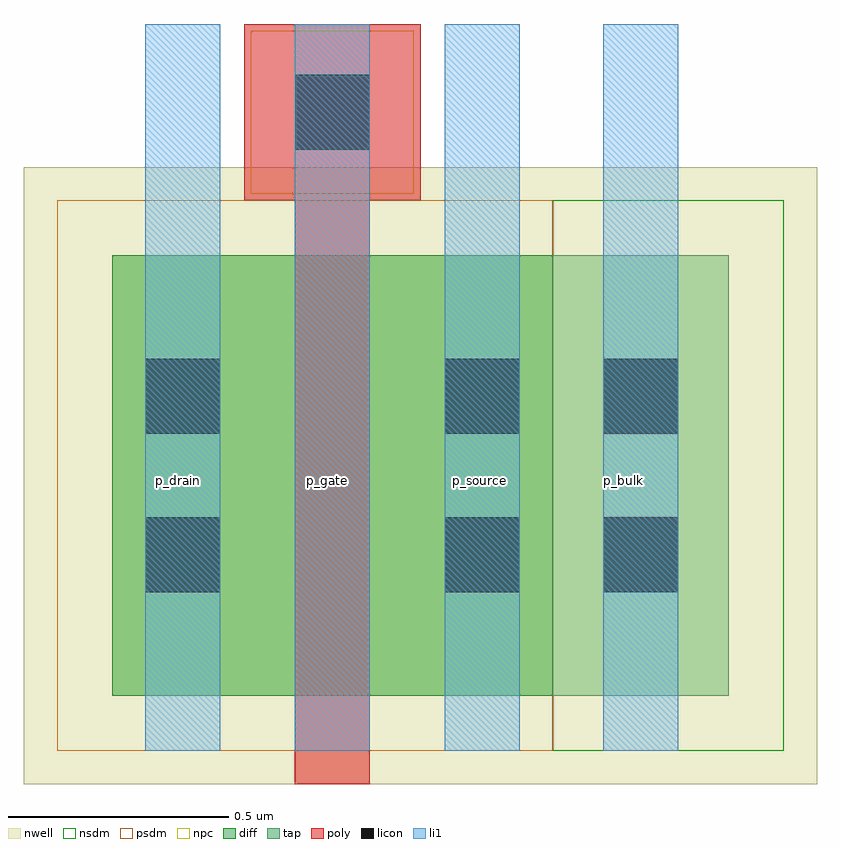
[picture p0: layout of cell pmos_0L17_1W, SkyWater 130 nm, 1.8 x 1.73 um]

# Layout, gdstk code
import gdstk
lib = gdstk.Library(unit=1e-6, precision=5e-09)
def R(c, l, rs):  # rectangles x0, y0, x1, y1
    for r in rs: c.add(gdstk.rectangle(r[:2], r[2:], *l))
def A(c, l, x, y, w, h, nx, ny, dx, dy):  # array of equal rectangles
    R(c, l, [(x+i*dx, y+j*dy, x+i*dx+w, y+j*dy+h) for i in range(nx) for j in range(ny)])
nwell = (64, 20)
diff = (65, 20)
tap = (65, 44)
poly = (66, 20)
licon = (66, 44)
li1 = (67, 20)
nsdm = (93, 44)
psdm = (94, 20)
npc = (95, 20)

pmos_0l17_1w = lib.new_cell('pmos_0L17_1W')
R(pmos_0l17_1w, nwell, [(-1.075,0.7,0.725,2.1)])
R(pmos_0l17_1w, diff, [(-0.875,0.9,0.125,1.9)])
R(pmos_0l17_1w, tap, [(0.125,0.9,0.525,1.9)])
R(pmos_0l17_1w, poly, [(-0.46,0.7,-0.29,2.025), (-0.575,2.025,-0.175,2.425)])
R(pmos_0l17_1w, licon, [(-0.8,1.135,-0.63,1.305), (-0.12,1.135,0.05,1.305), (0.24,1.135,0.41,1.305), (-0.8,1.495,-0.63,1.665), (-0.12,1.495,0.05,1.665), (0.24,1.495,0.41,1.665), (-0.46,2.14,-0.29,2.31)])
A(pmos_0l17_1w, li1, -0.8, 0.775, 0.17, 1.65, 3, 1, 0.34, 0)
R(pmos_0l17_1w, li1, [(0.24,0.775,0.41,2.425)])
R(pmos_0l17_1w, nsdm, [(0.125,0.775,0.65,2.025)])
R(pmos_0l17_1w, psdm, [(-1,0.775,0.125,2.025)])
R(pmos_0l17_1w, npc, [(-0.56,2.04,-0.19,2.41)])
pmos_0l17_1w.add(gdstk.Label('p_bulk', (0.285,1.39), layer=67, texttype=5))
pmos_0l17_1w.add(gdstk.Label('p_source', (-0.04,1.39), layer=67, texttype=5))
pmos_0l17_1w.add(gdstk.Label('p_gate', (-0.385,1.39), layer=67, texttype=5))
pmos_0l17_1w.add(gdstk.Label('p_drain', (-0.725,1.39), layer=67, texttype=5))

lib.write_gds('pmos_0L17_1W.gds')
